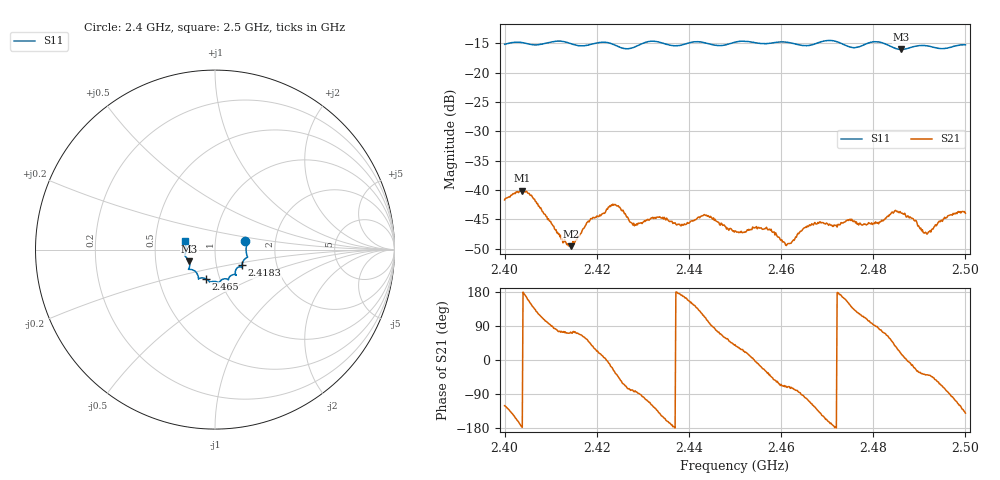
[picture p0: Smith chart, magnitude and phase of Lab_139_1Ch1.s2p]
# Hz S RI R 50
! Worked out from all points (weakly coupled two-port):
!   601 points, 2.4 GHz to 2.5 GHz, reference 50 ohm
!   highest |S21| = -40.12 dB at 2.4038 GHz (marker M1); lowest = -49.6 dB at 2.4143 GHz (marker M2)
!   lowest |S11| = -16.0 dB at 2.486 GHz (marker M3), VSWR 1.38, Z = 37.1 - j4.98 ohm
!   |S11| at or under -10 dB: start of sweep to end of sweep
!   S12 and S22 are empty: the file has one direction only
!   S11 on the Smith chart (normalised r, x): 2.4 GHz: 1.40, +0.13; 2.4183 GHz: 1.33, -0.24; 2.465 GHz: 0.86, -0.29; 2.5 GHz: 0.71, +0.07
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2.4e9  0.1689 0.0455  -0.0042 -0.00707  0 0  0 0
2.403833e9  0.1788 0.028  -0.00985 -0.000381  0 0  0 0
2.406e9  0.1734 0.009  -0.0069 0.00534  0 0  0 0
2.414333e9  0.1704 -0.0488  0.000936 0.00318  0 0  0 0
2.416667e9  0.1551 -0.0685  0.00176 0.00393  0 0  0 0
2.418333e9  0.1498 -0.0872  0.00361 0.00392  0 0  0 0
2.423667e9  0.1446 -0.0967  0.00653 -0.00349  0 0  0 0
2.428e9  0.1138 -0.1187  0.00064 -0.00516  0 0  0 0
2.433333e9  0.1166 -0.1415  -0.00427 -0.004  0 0  0 0
2.438667e9  0.0789 -0.1546  -0.00491 0.00103  0 0  0 0
2.443667e9  0.0698 -0.1652  -0.00212 0.00566  0 0  0 0
2.45e9  0.0252 -0.1806  0.0034 0.00291  0 0  0 0
2.457333e9  -0.0126 -0.1776  0.00359 -0.00289  0 0  0 0
2.4615e9  -0.0313 -0.1787  0.00117 -0.00328  0 0  0 0
2.465e9  -0.0529 -0.1621  -0.000548 -0.00472  0 0  0 0
2.466667e9  -0.0712 -0.1576  -0.0022 -0.00465  0 0  0 0
2.479833e9  -0.1464 -0.1101  -0.000452 0.00505  0 0  0 0
2.483333e9  -0.1418 -0.0959  0.00296 0.00515  0 0  0 0
2.486e9  -0.1438 -0.0654  0.00608 0.00192  0 0  0 0
2.491333e9  -0.1674 -0.0314  0.00336 -0.00277  0 0  0 0
2.4965e9  -0.1623 0.0224  0.000114 -0.00608  0 0  0 0
2.5e9  -0.1666 0.0473  -0.00485 -0.00406  0 0  0 0
